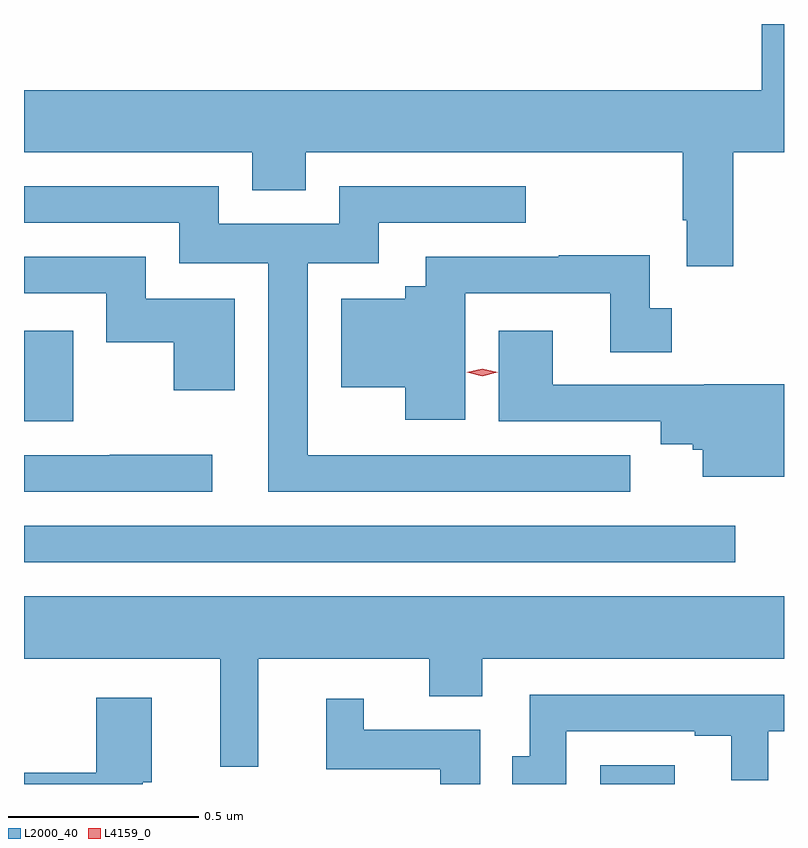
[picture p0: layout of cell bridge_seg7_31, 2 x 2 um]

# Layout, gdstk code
import gdstk
lib = gdstk.Library(unit=1e-6, precision=1e-09)
def R(c, l, rs):  # rectangles x0, y0, x1, y1
    for r in rs: c.add(gdstk.rectangle(r[:2], r[2:], *l))
def P(c, l, *ps):  # polygons
    for p in ps: c.add(gdstk.Polygon(p, *l))
L2000_40 = (2000, 40)
L4159_0 = (4159, 0)

bridge_seg7_31 = lib.new_cell('bridge_seg7_31')
R(bridge_seg7_31, L2000_40, [(1001.393,1054.898,1001.59,1054.947), (999.877,1055.481,1001.749,1055.577), (999.877,1055.853,1000.006,1056.091)])
P(bridge_seg7_31, L2000_40, [(1001.743,1056.56),(1001.877,1056.56),(1001.877,1056.898),(1001.819,1056.898),(1001.819,1056.724),(999.877,1056.724),(999.877,1056.56),(1000.478,1056.56),(1000.478,1056.461),(1000.618,1056.461),(1000.618,1056.56),(1001.611,1056.56),(1001.611,1056.382),(1001.621,1056.382),(1001.621,1056.261),(1001.743,1056.261)],
  [(1001.473,1055.763),(1000.624,1055.763),(1000.624,1056.269),(1000.81,1056.269),(1000.81,1056.375),(1001.197,1056.375),(1001.197,1056.471),(1000.706,1056.471),(1000.706,1056.373),(1000.39,1056.373),(1000.39,1056.471),(999.877,1056.471),(999.877,1056.375),(1000.286,1056.375),(1000.286,1056.269),(1000.52,1056.269),(1000.52,1055.667),(1001.473,1055.667)],
  [(1001.038,1056.189),(1001.42,1056.189),(1001.42,1056.034),(1001.581,1056.034),(1001.581,1056.15),(1001.524,1056.15),(1001.524,1056.29),(1001.284,1056.29),(1001.284,1056.285),(1000.934,1056.285),(1000.934,1056.208),(1000.88,1056.208),(1000.88,1056.175),(1000.712,1056.175),(1000.712,1055.942),(1000.88,1055.942),(1000.88,1055.856),(1001.038,1055.856)],
  [(1000.432,1056.175),(1000.198,1056.175),(1000.198,1056.285),(999.877,1056.285),(999.877,1056.189),(1000.094,1056.189),(1000.094,1056.061),(1000.271,1056.061),(1000.271,1055.934),(1000.432,1055.934)],
  [(1001.877,1055.95),(1001.667,1055.95),(1001.667,1055.949),(1001.269,1055.949),(1001.269,1056.091),(1001.126,1056.091),(1001.126,1055.853),(1001.552,1055.853),(1001.552,1055.792),(1001.637,1055.792),(1001.637,1055.777),(1001.663,1055.777),(1001.663,1055.706),(1001.877,1055.706)],
  [(1000.372,1055.764),(1000.102,1055.764),(1000.102,1055.763),(999.877,1055.763),(999.877,1055.667),(1000.372,1055.667)],
  [(1000.493,1055.228),(1000.943,1055.228),(1000.943,1055.129),(1001.083,1055.129),(1001.083,1055.228),(1001.877,1055.228),(1001.877,1055.392),(999.877,1055.392),(999.877,1055.228),(1000.394,1055.228),(1000.394,1054.944),(1000.493,1054.944)],
  [(1001.304,1055.037),(1001.642,1055.037),(1001.642,1055.025),(1001.738,1055.025),(1001.738,1054.908),(1001.836,1054.908),(1001.836,1055.037),(1001.877,1055.037),(1001.877,1055.133),(1001.208,1055.133),(1001.208,1054.971),(1001.162,1054.971),(1001.162,1054.898),(1001.304,1054.898)],
  [(1000.189,1054.902),(1000.213,1054.902),(1000.213,1055.125),(1000.067,1055.125),(1000.067,1054.927),(999.877,1054.927),(999.877,1054.898),(1000.189,1054.898)],
  [(1001.077,1055.041),(1000.771,1055.041),(1000.771,1055.122),(1000.673,1055.122),(1000.673,1054.937),(1000.973,1054.937),(1000.973,1054.898),(1001.077,1054.898)])
P(bridge_seg7_31, L4159_0, [(1001.083,1055.971),(1001.042,1055.981),(1001.042,1055.981),(1001.042,1055.981),(1001.083,1055.991),(1001.124,1055.981),(1001.124,1055.981),(1001.124,1055.981)])

lib.write_gds('bridge_seg7_31.gds')
